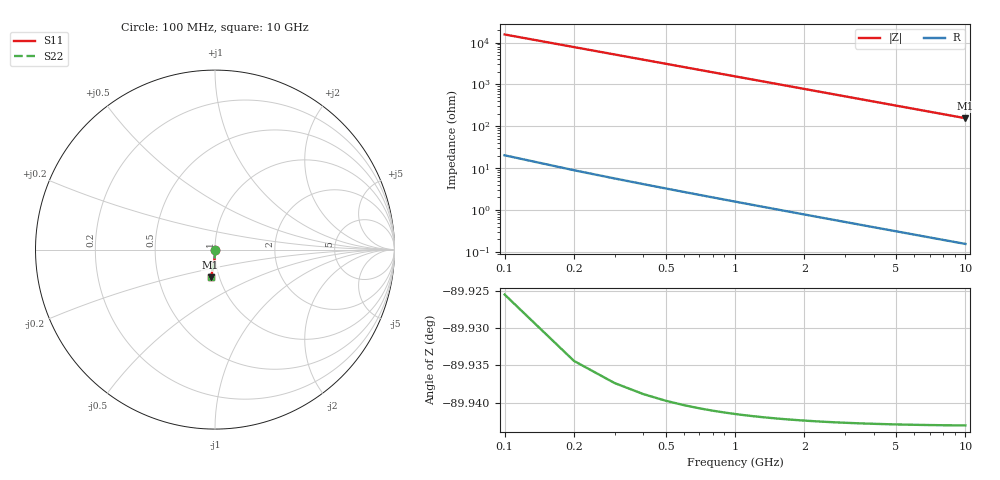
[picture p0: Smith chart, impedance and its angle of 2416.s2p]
# Hz S RI R 50.00
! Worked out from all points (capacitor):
!   100 points, 100 MHz to 10 GHz, reference 50 ohm
!   read as one part in shunt: C = 102 fF near 100 MHz
!   lowest |Z| = 156 ohm at 10 GHz (marker M1)
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1e8  2.01e-06 -0.00158  1 -0.00162  1 -0.00162  2.01e-06 -0.00158
2e8  -7.21e-06 -0.00317  1 -0.00324  1 -0.00324  -7.21e-06 -0.00317
3e8  -2.16e-05 -0.00475  1 -0.00485  1 -0.00485  -2.16e-05 -0.00475
4e8  -4.1e-05 -0.00633  0.9999 -0.00647  0.9999 -0.00647  -4.1e-05 -0.00633
5e8  -6.57e-05 -0.00791  0.9999 -0.00809  0.9999 -0.00809  -6.57e-05 -0.00791
6e8  -9.54e-05 -0.0095  0.9999 -0.00971  0.9999 -0.00971  -9.54e-05 -0.0095
7e8  -0.00013 -0.0111  0.9999 -0.0113  0.9999 -0.0113  -0.00013 -0.0111
8e8  -0.00017 -0.0127  0.9998 -0.0129  0.9998 -0.0129  -0.00017 -0.0127
9e8  -0.000215 -0.0142  0.9998 -0.0146  0.9998 -0.0146  -0.000215 -0.0142
1.1e9  -0.000321 -0.0174  0.9997 -0.0178  0.9997 -0.0178  -0.000321 -0.0174
1.4e9  -0.000517 -0.0221  0.9995 -0.0226  0.9995 -0.0226  -0.000517 -0.0221
1.8e9  -0.000851 -0.0285  0.9991 -0.0291  0.9991 -0.0291  -0.000851 -0.0285
2.1e9  -0.00115 -0.0332  0.9988 -0.0339  0.9988 -0.0339  -0.00115 -0.0332
2.5e9  -0.00163 -0.0395  0.9984 -0.0404  0.9984 -0.0404  -0.00163 -0.0395
2.9e9  -0.00219 -0.0458  0.9978 -0.0468  0.9978 -0.0468  -0.00219 -0.0458
3.4e9  -0.003 -0.0536  0.997 -0.0548  0.997 -0.0548  -0.003 -0.0536
4.2e9  -0.00456 -0.0662  0.9954 -0.0676  0.9954 -0.0676  -0.00456 -0.0662
5.1e9  -0.00669 -0.0801  0.9933 -0.082  0.9933 -0.082  -0.00669 -0.0801
5.9e9  -0.00892 -0.0925  0.9911 -0.0946  0.9911 -0.0946  -0.00892 -0.0925
6.7e9  -0.0115 -0.1048  0.9885 -0.1071  0.9885 -0.1071  -0.0115 -0.1048
8.4e9  -0.0178 -0.1304  0.9821 -0.1334  0.9821 -0.1334  -0.0178 -0.1304
1e10  -0.0251 -0.1541  0.9749 -0.1577  0.9749 -0.1577  -0.0251 -0.1541
